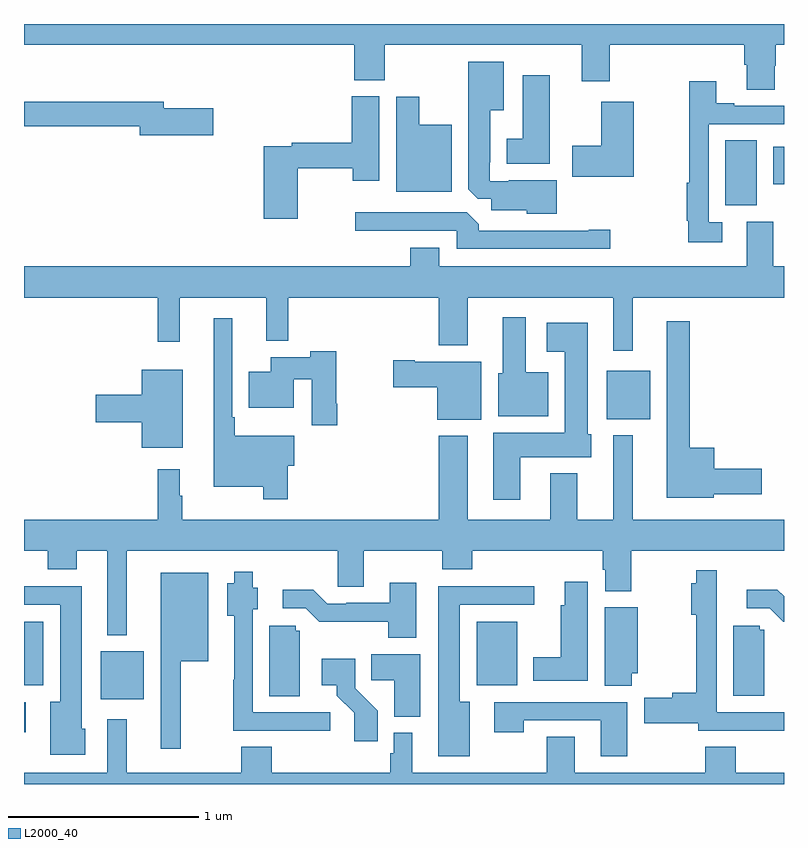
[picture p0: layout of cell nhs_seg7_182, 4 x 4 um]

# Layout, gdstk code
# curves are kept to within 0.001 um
import gdstk
lib = gdstk.Library(unit=1e-6, precision=1e-09)
def R(c, l, rs):  # rectangles x0, y0, x1, y1
    for r in rs: c.add(gdstk.rectangle(r[:2], r[2:], *l))
def P(c, l, *ps):  # polygons
    for p in ps: c.add(gdstk.Polygon(p, *l))
L2000_40 = (2000, 40)

nhs_seg7_182 = lib.new_cell('nhs_seg7_182')
R(nhs_seg7_182, L2000_40, [(123,1054.272,123.01,1054.431), (123.404,1054.445,123.631,1054.699), (123,1054.52,123.1,1054.855), (125.384,1054.52,125.596,1054.855), (126.068,1055.921,126.295,1056.175), (126.692,1057.045,126.856,1057.388), (126.944,1057.157,127,1057.354)])
P(nhs_seg7_182, L2000_40, [(126.951,1057.779),(126.956,1057.779),(126.956,1057.892),(127,1057.892),(127,1058),(123,1058),(123,1057.892),(124.739,1057.892),(124.739,1057.705),(124.899,1057.705),(124.899,1057.892),(125.936,1057.892),(125.936,1057.698),(126.084,1057.698),(126.084,1057.892),(126.791,1057.892),(126.791,1057.786),(126.803,1057.786),(126.803,1057.654),(126.951,1057.654)],
  [(125.803,1057.177),(125.551,1057.177),(125.551,1057.173),(125.451,1057.173),(125.451,1057.273),(125.455,1057.273),(125.455,1057.547),(125.524,1057.547),(125.524,1057.801),(125.339,1057.801),(125.339,1057.129),(125.388,1057.08),(125.459,1057.08),(125.459,1057.019),(125.646,1057.019),(125.646,1057.001),(125.803,1057.001)],
  [(125.767,1057.729),(125.624,1057.729),(125.624,1057.396),(125.54,1057.396),(125.54,1057.265),(125.767,1057.265)],
  [(126.676,1056.957),(126.603,1056.957),(126.603,1057.473),(127,1057.473),(127,1057.569),(126.739,1057.569),(126.739,1057.582),(126.643,1057.582),(126.643,1057.699),(126.502,1057.699),(126.502,1057.164),(126.487,1057.164),(126.487,1056.964),(126.495,1056.964),(126.495,1056.852),(126.676,1056.852)],
  [(124.44,1057.24),(124.729,1057.24),(124.729,1057.176),(124.87,1057.176),(124.87,1057.62),(124.724,1057.62),(124.724,1057.376),(124.408,1057.376),(124.408,1057.356),(124.262,1057.356),(124.262,1056.975),(124.44,1056.975)],
  [(125.251,1057.471),(125.08,1057.471),(125.08,1057.618),(124.958,1057.618),(124.958,1057.118),(125.251,1057.118)],
  [(123.997,1057.557),(123.736,1057.557),(123.736,1057.591),(123,1057.591),(123,1057.462),(123.608,1057.462),(123.608,1057.415),(123.997,1057.415)],
  [(126.208,1057.591),(126.038,1057.591),(126.038,1057.359),(125.886,1057.359),(125.886,1057.196),(126.208,1057.196)],
  [(126.085,1056.917),(125.972,1056.917),(125.972,1056.912),(125.393,1056.912),(125.393,1056.946),(125.331,1057.008),(124.743,1057.008),(124.743,1056.912),(125.277,1056.912),(125.277,1056.816),(126.085,1056.816)],
  [(126.205,1056.56),(127,1056.56),(127,1056.724),(126.943,1056.724),(126.943,1056.96),(126.803,1056.96),(126.803,1056.724),(125.185,1056.724),(125.185,1056.823),(125.033,1056.823),(125.033,1056.724),(123,1056.724),(123,1056.56),(123.703,1056.56),(123.703,1056.327),(123.821,1056.327),(123.821,1056.56),(124.274,1056.56),(124.274,1056.332),(124.391,1056.332),(124.391,1056.56),(125.183,1056.56),(125.183,1056.308),(125.335,1056.308),(125.335,1056.56),(126.101,1056.56),(126.101,1056.279),(126.205,1056.279)],
  [(125.758,1056.166),(125.641,1056.166),(125.641,1056.457),(125.519,1056.457),(125.519,1056.162),(125.495,1056.162),(125.495,1055.936),(125.758,1055.936)],
  [(124.388,1055.675),(124.423,1055.675),(124.423,1055.833),(124.108,1055.833),(124.108,1055.929),(124.095,1055.929),(124.095,1056.451),(123.998,1056.451),(123.998,1055.564),(124.26,1055.564),(124.26,1055.499),(124.388,1055.499)],
  [(126.63,1055.525),(126.883,1055.525),(126.883,1055.66),(126.634,1055.66),(126.634,1055.77),(126.505,1055.77),(126.505,1056.436),(126.383,1056.436),(126.383,1055.507),(126.63,1055.507)],
  [(125.611,1055.72),(125.986,1055.72),(125.986,1055.841),(125.968,1055.841),(125.968,1056.427),(125.751,1056.427),(125.751,1056.275),(125.846,1056.275),(125.846,1055.848),(125.471,1055.848),(125.471,1055.496),(125.611,1055.496)],
  [(124.649,1056.001),(124.644,1056.001),(124.644,1056.277),(124.507,1056.277),(124.507,1056.247),(124.298,1056.247),(124.298,1056.169),(124.184,1056.169),(124.184,1055.981),(124.42,1055.981),(124.42,1056.13),(124.514,1056.13),(124.514,1055.889),(124.649,1055.889)],
  [(125.407,1056.223),(125.056,1056.223),(125.056,1056.231),(124.944,1056.231),(124.944,1056.089),(125.174,1056.089),(125.174,1055.918),(125.407,1055.918)],
  [(123.835,1056.181),(123.62,1056.181),(123.62,1056.05),(123.378,1056.05),(123.378,1055.903),(123.62,1055.903),(123.62,1055.771),(123.835,1055.771)],
  [(123.541,1055.228),(124.65,1055.228),(124.65,1055.038),(124.789,1055.038),(124.789,1055.228),(125.2,1055.228),(125.2,1055.129),(125.36,1055.129),(125.36,1055.228),(126.047,1055.228),(126.047,1055.127),(126.059,1055.127),(126.059,1055.015),(126.195,1055.015),(126.195,1055.228),(127,1055.228),(127,1055.392),(126.205,1055.392),(126.205,1055.836),(126.101,1055.836),(126.101,1055.392),(125.911,1055.392),(125.911,1055.635),(125.771,1055.635),(125.771,1055.392),(125.335,1055.392),(125.335,1055.833),(125.183,1055.833),(125.183,1055.392),(123.832,1055.392),(123.832,1055.516),(123.82,1055.516),(123.82,1055.656),(123.703,1055.656),(123.703,1055.392),(123,1055.392),(123,1055.228),(123.125,1055.228),(123.125,1055.129),(123.277,1055.129),(123.277,1055.228),(123.437,1055.228),(123.437,1054.784),(123.541,1054.784)],
  [(127,1054.377),(126.645,1054.377),(126.645,1054.902),(126.646,1054.902),(126.646,1055.125),(126.537,1055.125),(126.537,1055.056),(126.512,1055.056),(126.512,1054.891),(126.537,1054.891),(126.537,1054.479),(126.413,1054.479),(126.413,1054.454),(126.264,1054.454),(126.264,1054.319),(126.548,1054.319),(126.548,1054.281),(126.829,1054.281),(126.829,1054.279),(127,1054.279)],
  [(124.612,1054.377),(124.203,1054.377),(124.203,1054.92),(124.231,1054.92),(124.231,1055.034),(124.204,1055.034),(124.204,1055.116),(124.106,1055.116),(124.106,1055.056),(124.07,1055.056),(124.07,1054.886),(124.106,1054.886),(124.106,1054.55),(124.102,1054.55),(124.102,1054.281),(124.387,1054.281),(124.387,1054.279),(124.612,1054.279)],
  [(123.826,1054.646),(123.97,1054.646),(123.97,1055.113),(123.719,1055.113),(123.719,1054.185),(123.826,1054.185)],
  [(125.968,1055.065),(125.846,1055.065),(125.846,1054.941),(125.825,1054.941),(125.825,1054.666),(125.681,1054.666),(125.681,1054.544),(125.968,1054.544)],
  [(125.065,1055.059),(124.925,1055.059),(124.925,1054.953),(124.696,1054.953),(124.696,1054.95),(124.596,1054.95),(124.523,1055.023),(124.362,1055.023),(124.362,1054.926),(124.482,1054.926),(124.555,1054.853),(124.918,1054.854),(124.918,1054.769),(125.065,1054.769)],
  [(125.347,1054.432),(125.293,1054.432),(125.293,1054.944),(125.686,1054.944),(125.686,1055.042),(125.18,1055.042),(125.18,1054.146),(125.347,1054.146)],
  [(123.322,1054.29),(123.304,1054.29),(123.304,1055.042),(123,1055.042),(123,1054.944),(123.191,1054.944),(123.191,1054.432),(123.137,1054.432),(123.137,1054.154),(123.322,1054.154)],
  [(127,1054.988),(126.965,1055.023),(126.804,1055.023),(126.804,1054.926),(126.924,1054.926),(126.997,1054.853),(127,1054.853)],
  [(126.198,1054.583),(126.229,1054.583),(126.229,1054.93),(126.056,1054.93),(126.056,1054.516),(126.198,1054.516)],
  [(124.45,1054.806),(124.431,1054.806),(124.431,1054.833),(124.292,1054.833),(124.292,1054.462),(124.45,1054.462)],
  [(126.895,1054.812),(126.873,1054.812),(126.873,1054.833),(126.734,1054.833),(126.734,1054.464),(126.895,1054.464)],
  [(125.086,1054.684),(124.828,1054.684),(124.828,1054.546),(124.949,1054.546),(124.949,1054.355),(125.086,1054.355)],
  [(124.862,1054.386),(124.743,1054.505),(124.743,1054.66),(124.566,1054.66),(124.566,1054.52),(124.646,1054.52),(124.646,1054.465),(124.737,1054.375),(124.737,1054.224),(124.862,1054.224)],
  [(126.175,1054.431),(125.475,1054.431),(125.475,1054.272),(125.631,1054.272),(125.631,1054.335),(126.035,1054.335),(126.035,1054.146),(126.175,1054.146)],
  [(124.947,1054.27),(124.947,1054.161),(124.927,1054.161),(124.927,1054.06),(124.304,1054.06),(124.304,1054.196),(124.144,1054.196),(124.144,1054.06),(123.541,1054.06),(123.541,1054.342),(123.437,1054.342),(123.437,1054.06),(123,1054.06),(123,1054),(127,1054),(127,1054.06),(126.746,1054.06),(126.746,1054.196),(126.586,1054.196),(126.586,1054.06),(125.899,1054.06),(125.899,1054.25),(125.752,1054.25),(125.752,1054.06),(125.044,1054.06),(125.044,1054.27)])

lib.write_gds('nhs_seg7_182.gds')
